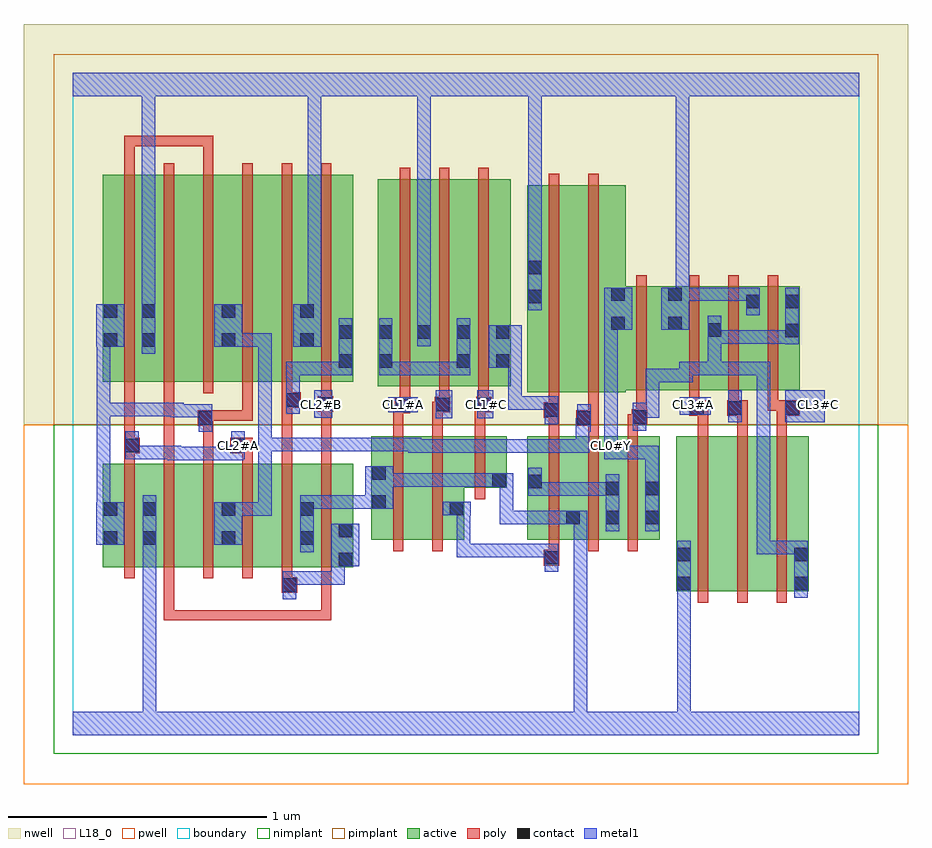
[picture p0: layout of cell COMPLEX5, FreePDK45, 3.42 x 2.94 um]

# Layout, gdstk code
import gdstk
lib = gdstk.Library(unit=1e-6, precision=1e-09)
def R(c, l, rs):  # rectangles x0, y0, x1, y1
    for r in rs: c.add(gdstk.rectangle(r[:2], r[2:], *l))
def A(c, l, x, y, w, h, nx, ny, dx, dy):  # array of equal rectangles
    R(c, l, [(x+i*dx, y+j*dy, x+i*dx+w, y+j*dy+h) for i in range(nx) for j in range(ny)])
active = (1, 0)
pwell = (2, 0)
nwell = (3, 0)
nimplant = (4, 0)
pimplant = (5, 0)
poly = (9, 0)
contact = (10, 0)
metal1 = (11, 0)
L18_0 = (18, 0)
boundary = (235, 0)

complex5 = lib.new_cell('COMPLEX5')
A(complex5, active, 1.904, 0.756, 0.06, 0.4, 3, 1, 0.152, 0)
R(complex5, active, [(2.332,0.556,2.392,1.156), (2.332,0.556,2.512,1.156), (2.512,0.556,2.664,1.156), (2.664,0.556,2.844,1.156), (2.784,0.556,2.844,1.156), (0.116,0.65,0.328,1.05), (0.268,0.65,0.448,1.05), (0.268,0.65,0.328,0.904), (0.448,0.65,0.632,1.05), (0.572,0.65,0.752,1.05), (0.752,0.65,0.936,1.05), (0.876,0.65,1.084,1.05), (1.024,0.65,1.084,1.05), (0.116,0.732,0.176,1.05), (0.572,0.732,0.632,0.904), (0.876,0.732,0.936,0.904), (1.154,0.756,1.214,1.156), (1.154,0.756,1.334,1.156), (1.334,0.756,1.514,1.156), (1.454,0.756,1.514,0.956), (1.756,0.756,1.816,1.156), (1.756,0.756,1.964,1.156), (1.904,0.756,2.116,1.156), (2.056,0.756,2.268,1.156), (1.454,0.956,1.678,1.156), (1.618,0.956,1.678,1.156), (1.756,1.326,1.936,2.126), (1.756,1.326,1.816,2.044), (1.936,1.326,2.138,2.126), (2.078,1.334,2.138,1.734), (2.078,1.334,2.358,1.734), (2.298,1.334,2.358,1.734), (2.298,1.334,2.51,1.734), (2.45,1.334,2.658,1.734), (2.45,1.334,2.51,1.644), (2.598,1.334,2.658,1.734), (2.598,1.334,2.81,1.734), (2.75,1.334,2.81,1.734), (1.18,1.348,1.24,2.044), (1.18,1.348,1.388,2.148), (1.328,1.348,1.54,2.148), (1.48,1.348,1.692,2.148), (1.632,1.348,1.692,2.044), (0.116,1.366,0.324,2.166), (0.116,1.366,0.176,2.044), (0.264,1.366,0.324,2.044), (0.264,1.366,0.448,2.166), (0.448,1.366,0.632,2.166), (0.572,1.366,0.752,2.166), (0.572,1.366,0.632,2.044), (0.752,1.366,0.936,2.166), (0.876,1.366,1.084,2.166), (0.876,1.366,0.936,2.044), (1.024,1.366,1.084,2.044), (1.48,1.416,1.54,2.044), (1.328,1.528,1.388,2.044)])
R(complex5, pwell, [(-0.188,-0.188,3.228,1.2)])
R(complex5, nwell, [(-0.188,1.2,3.228,2.748)])
R(complex5, nimplant, [(-0.072,-0.072,3.112,1.2)])
R(complex5, pimplant, [(-0.072,1.2,3.112,2.632)])
A(complex5, poly, 2.416, 0.512, 0.04, 0.688, 3, 1, 0.152, 0)
A(complex5, poly, 0.2, 0.606, 0.04, 0.488, 6, 1, 0.152, 0)
A(complex5, poly, 1.84, 0.712, 0.04, 0.488, 3, 1, 0.152, 0)
A(complex5, poly, 2.416, 1.16, 0.04, 0.114, 3, 1, 0.152, 0)
A(complex5, poly, 2.382, 1.254, 0.04, 0.076, 3, 1, 0.152, 0)
A(complex5, poly, 2.382, 1.29, 0.04, 0.488, 3, 1, 0.152, 0)
A(complex5, poly, 1.264, 1.304, 0.04, 0.888, 3, 1, 0.152, 0)
A(complex5, poly, 0.2, 1.322, 0.04, 0.888, 6, 1, 0.152, 0)
R(complex5, poly, [(0.352,0.444,0.392,0.484), (0.352,0.444,0.392,0.646), (0.352,0.444,0.498,0.484), (0.458,0.444,0.498,0.484), (0.458,0.444,0.498,0.484), (0.458,0.444,0.498,0.484), (0.458,0.444,0.498,0.484), (0.458,0.444,0.498,0.484), (0.458,0.444,0.68,0.484), (0.64,0.444,0.68,0.484), (0.64,0.444,0.68,0.484), (0.64,0.444,0.68,0.484), (0.64,0.444,0.802,0.484), (0.762,0.444,0.802,0.484), (0.762,0.444,0.802,0.484), (0.762,0.444,0.802,0.484), (0.762,0.444,1,0.484), (0.96,0.444,1,0.484), (0.96,0.444,1,0.484), (0.96,0.444,1,0.484), (0.96,0.444,1,0.484), (0.96,0.444,1,0.484), (0.96,0.444,1,0.646), (0.808,0.55,0.868,0.61), (0.808,0.57,0.848,0.646), (1.82,0.656,1.88,0.716), (1.84,0.676,1.88,0.752), (1.238,0.712,1.278,1.2), (1.39,0.712,1.43,1.2), (1.554,0.912,1.594,1.2), (0.2,1.054,0.24,1.13), (0.352,1.054,0.392,1.13), (0.504,1.054,0.544,1.236), (0.656,1.054,0.696,1.13), (0.808,1.054,0.848,1.306), (0.96,1.054,1,1.29), (0.2,1.09,0.26,1.15), (0.352,1.09,0.392,1.13), (0.352,1.09,0.392,1.13), (0.352,1.09,0.392,1.13), (0.352,1.09,0.392,1.362), (0.61,1.09,0.696,1.15), (0.2,1.11,0.24,1.15), (0.2,1.11,0.24,1.15), (0.2,1.11,0.24,1.362), (1.238,1.16,1.278,1.284), (1.39,1.16,1.43,1.288), (1.554,1.16,1.594,1.288), (1.84,1.16,1.88,1.266), (1.992,1.16,2.032,1.236), (2.144,1.16,2.184,1.24), (0.484,1.196,0.544,1.256), (0.504,1.196,0.544,1.236), (0.504,1.196,0.544,1.236), (1.946,1.196,2.032,1.256), (2.144,1.2,2.2,1.24), (2.16,1.2,2.2,1.24), (2.16,1.2,2.22,1.26), (0.504,1.216,0.696,1.256), (0.656,1.216,0.696,1.256), (0.656,1.216,0.696,1.256), (0.656,1.216,0.696,1.256), (0.656,1.216,0.696,1.362), (1.992,1.216,2.032,1.256), (1.992,1.216,2.032,1.256), (1.992,1.216,2.032,1.322), (2.178,1.22,2.218,1.33), (1.82,1.226,1.88,1.286), (1.84,1.226,1.88,1.266), (1.84,1.226,1.88,1.266), (2.382,1.234,2.456,1.294), (2.53,1.234,2.608,1.294), (2.72,1.234,2.81,1.294), (1.238,1.244,1.284,1.284), (1.244,1.244,1.284,1.284), (1.244,1.244,1.304,1.304), (1.84,1.246,1.88,1.322), (1.39,1.248,1.44,1.288), (1.4,1.248,1.44,1.288), (1.4,1.248,1.46,1.308), (1.554,1.248,1.6,1.288), (1.56,1.248,1.6,1.288), (1.56,1.248,1.62,1.308), (0.948,1.25,1.008,1.31), (0.96,1.25,1,1.29), (0.96,1.25,1,1.29), (2.382,1.254,2.422,1.294), (2.382,1.254,2.422,1.294), (2.534,1.254,2.574,1.294), (2.534,1.254,2.574,1.294), (2.686,1.254,2.76,1.294), (2.72,1.254,2.76,1.294), (1.264,1.264,1.304,1.344), (0.808,1.266,0.848,1.306), (0.808,1.266,0.848,1.306), (0.808,1.266,0.882,1.326), (1.416,1.268,1.456,1.344), (1.568,1.268,1.608,1.344), (0.96,1.27,1,1.362), (1.84,1.282,1.88,2.17), (1.992,1.282,2.032,2.17), (0.808,1.286,0.848,1.362), (2.178,1.29,2.218,1.778), (0.2,2.17,0.24,2.316), (0.504,2.17,0.544,2.316), (0.2,2.276,0.24,2.316), (0.2,2.276,0.24,2.316), (0.2,2.276,0.24,2.316), (0.2,2.276,0.366,2.316), (0.326,2.276,0.366,2.316), (0.326,2.276,0.366,2.316), (0.326,2.276,0.366,2.316), (0.326,2.276,0.544,2.316), (0.504,2.276,0.544,2.316)])
A(complex5, contact, 0.272, 0.736, 0.052, 0.052, 3, 2, 0.304, 0.112)
A(complex5, contact, 1.908, 0.816, 0.052, 0.052, 3, 1, 0.152, 0)
A(complex5, contact, 1.332, 1.532, 0.052, 0.052, 3, 1, 0.152, 0)
R(complex5, contact, [(0.812,0.554,0.864,0.606), (2.336,0.56,2.388,0.612), (2.788,0.56,2.84,0.612), (1.028,0.654,1.08,0.706), (1.824,0.66,1.876,0.712), (2.336,0.672,2.388,0.724), (2.788,0.672,2.84,0.724), (0.12,0.736,0.172,0.788), (1.028,0.766,1.08,0.818), (0.12,0.848,0.172,0.9), (1.458,0.85,1.51,0.902), (1.158,0.876,1.21,0.928), (2.06,0.928,2.112,0.98), (2.212,0.928,2.264,0.98), (1.76,0.954,1.812,1.006), (1.622,0.96,1.674,1.012), (1.158,0.988,1.21,1.04), (0.204,1.094,0.256,1.146), (0.614,1.094,0.666,1.146), (0.488,1.2,0.54,1.252), (1.95,1.2,2.002,1.252), (2.164,1.204,2.216,1.256), (1.824,1.23,1.876,1.282), (2.386,1.238,2.438,1.29), (2.534,1.238,2.586,1.29), (2.754,1.238,2.806,1.29), (1.248,1.248,1.3,1.3), (1.404,1.252,1.456,1.304), (1.564,1.252,1.616,1.304), (0.952,1.254,1.004,1.306), (0.826,1.27,0.878,1.322), (1.028,1.42,1.08,1.472), (1.184,1.42,1.236,1.472), (1.484,1.42,1.536,1.472), (1.636,1.42,1.688,1.472), (0.12,1.502,0.172,1.554), (0.268,1.502,0.32,1.554), (0.576,1.502,0.628,1.554), (0.88,1.502,0.932,1.554), (1.028,1.532,1.08,1.584), (1.184,1.532,1.236,1.584), (2.754,1.538,2.806,1.59), (2.454,1.54,2.506,1.592), (2.082,1.566,2.134,1.618), (2.302,1.566,2.354,1.618), (0.12,1.614,0.172,1.666), (0.268,1.614,0.32,1.666), (0.576,1.614,0.628,1.666), (0.88,1.614,0.932,1.666), (2.602,1.65,2.654,1.702), (2.754,1.65,2.806,1.702), (1.76,1.67,1.812,1.722), (2.082,1.678,2.134,1.73), (2.302,1.678,2.354,1.73), (1.76,1.782,1.812,1.834)])
R(complex5, metal1, [(0,0,3.04,0.092), (0.272,0.04,0.324,0.092), (0.272,0.04,0.324,0.092), (0.272,0.04,0.324,0.092), (0.272,0.04,0.324,0.092), (0.272,0.04,0.324,0.092), (0.272,0.04,0.324,0.092), (0.272,0.04,0.324,0.76), (1.936,0.04,1.988,0.092), (1.936,0.04,1.988,0.092), (1.936,0.04,1.988,0.092), (1.936,0.04,1.988,0.092), (1.936,0.04,1.988,0.092), (1.936,0.04,1.988,0.092), (1.936,0.04,1.988,0.092), (1.936,0.04,1.988,0.092), (1.936,0.04,1.988,0.092), (1.936,0.04,1.988,0.092), (1.936,0.04,1.988,0.092), (1.936,0.04,1.988,0.092), (1.936,0.04,1.988,0.868), (2.336,0.04,2.388,0.092), (2.336,0.04,2.388,0.092), (2.336,0.04,2.388,0.092), (2.336,0.04,2.388,0.092), (2.336,0.04,2.388,0.092), (2.336,0.04,2.388,0.092), (2.336,0.04,2.388,0.092), (2.336,0.04,2.388,0.092), (2.336,0.04,2.388,0.584), (0.812,0.526,0.864,0.634), (2.336,0.532,2.388,0.752), (2.788,0.532,2.84,0.752), (0.812,0.582,0.88,0.634), (0.828,0.582,0.88,0.634), (0.828,0.582,1.052,0.634), (1,0.582,1.052,0.634), (1,0.582,1.052,0.634), (1,0.582,1.052,0.634), (1,0.582,1.052,0.706), (1.824,0.632,1.876,0.74), (1,0.654,1.108,0.818), (1.484,0.688,1.536,0.74), (1.484,0.688,1.536,0.74), (1.484,0.688,1.536,0.74), (1.484,0.688,1.536,0.902), (1.484,0.688,1.766,0.74), (1.714,0.688,1.766,0.74), (1.714,0.688,1.766,0.74), (1.714,0.688,1.766,0.74), (1.714,0.688,1.876,0.74), (2.644,0.7,2.696,0.752), (2.644,0.7,2.696,0.752), (2.644,0.7,2.696,0.752), (2.644,0.7,2.84,0.752), (2.644,0.7,2.696,1.444), (2.788,0.7,2.84,0.752), (2.788,0.7,2.84,0.752), (0.272,0.708,0.324,0.76), (0.272,0.708,0.324,0.76), (0.272,0.708,0.324,0.76), (0.272,0.708,0.324,0.76), (0.272,0.708,0.324,0.76), (0.272,0.708,0.324,0.76), (0.272,0.708,0.324,0.928), (0.88,0.708,0.932,0.928), (0.092,0.736,0.2,0.9), (0.548,0.736,0.656,0.9), (2.06,0.788,2.112,1.008), (2.212,0.788,2.264,1.008), (1.65,0.816,1.702,0.868), (1.65,0.816,1.702,0.868), (1.65,0.816,1.702,0.868), (1.65,0.816,1.756,0.868), (1.65,0.816,1.702,1.012), (1.704,0.816,1.756,0.868), (1.704,0.816,1.876,0.868), (1.824,0.816,1.876,0.868), (1.824,0.816,1.932,0.868), (1.88,0.816,1.988,0.868), (0.094,0.848,0.146,0.9), (0.094,0.848,0.146,0.9), (0.094,0.848,0.146,1.284), (0.604,0.848,0.656,0.9), (0.604,0.848,0.656,0.9), (0.604,0.848,0.77,0.9), (0.718,0.848,0.77,0.9), (0.718,0.848,0.77,1.15), (1.43,0.85,1.538,0.902), (0.88,0.876,1.072,0.928), (1.02,0.876,1.072,0.928), (1.02,0.876,1.072,0.928), (1.02,0.876,1.072,0.928), (1.02,0.876,1.182,0.928), (1.13,0.876,1.238,1.04), (1.76,0.926,1.812,1.034), (1.76,0.926,1.892,0.978), (1.84,0.926,1.892,0.978), (1.84,0.926,1.996,0.978), (1.944,0.926,1.996,0.978), (1.944,0.926,2.106,0.978), (2.054,0.926,2.106,0.978), (2.054,0.926,2.112,0.978), (2.212,0.956,2.264,1.118), (1.186,0.96,1.238,1.012), (1.186,0.96,1.238,1.012), (1.186,0.96,1.348,1.012), (1.296,0.96,1.348,1.012), (1.296,0.96,1.348,1.012), (1.296,0.96,1.348,1.012), (1.296,0.96,1.494,1.012), (1.442,0.96,1.494,1.012), (1.442,0.96,1.646,1.012), (1.594,0.96,1.646,1.012), (1.594,0.96,1.646,1.012), (1.594,0.96,1.646,1.012), (1.594,0.96,1.646,1.012), (1.594,0.96,1.702,1.012), (0.368,1.062,0.42,1.114), (0.368,1.062,0.42,1.114), (0.368,1.062,0.42,1.118), (0.368,1.062,0.546,1.114), (0.494,1.062,0.546,1.114), (0.494,1.062,0.66,1.114), (0.608,1.062,0.66,1.118), (0.204,1.066,0.256,1.118), (0.204,1.066,0.256,1.118), (0.204,1.066,0.256,1.174), (0.204,1.066,0.42,1.118), (0.608,1.066,0.666,1.118), (0.614,1.066,0.666,1.174), (2.054,1.066,2.216,1.118), (2.054,1.066,2.106,1.174), (2.164,1.066,2.216,1.118), (2.164,1.066,2.264,1.118), (2.212,1.066,2.264,1.118), (1.296,1.092,1.348,1.144), (1.296,1.092,1.348,1.144), (1.296,1.092,1.536,1.144), (1.296,1.092,1.348,1.15), (1.484,1.092,1.536,1.144), (1.484,1.092,1.536,1.144), (1.484,1.092,1.536,1.144), (1.484,1.092,1.756,1.144), (1.704,1.092,1.756,1.144), (1.704,1.092,1.756,1.144), (1.704,1.092,1.756,1.144), (1.704,1.092,1.892,1.144), (1.84,1.092,1.892,1.144), (1.84,1.092,1.996,1.144), (1.944,1.092,1.996,1.224), (0.718,1.098,0.77,1.15), (0.718,1.098,0.876,1.15), (0.718,1.098,0.77,1.554), (0.824,1.098,0.876,1.15), (0.824,1.098,0.88,1.15), (0.828,1.098,0.88,1.15), (0.828,1.098,1.072,1.15), (1.02,1.098,1.072,1.15), (1.02,1.098,1.072,1.15), (1.02,1.098,1.072,1.15), (1.02,1.098,1.19,1.15), (1.138,1.098,1.19,1.15), (1.138,1.098,1.19,1.15), (1.138,1.098,1.19,1.15), (1.138,1.098,1.348,1.15), (2.054,1.122,2.106,1.618), (0.488,1.172,0.54,1.28), (1.944,1.172,2.002,1.224), (1.95,1.172,2.002,1.28), (2.164,1.176,2.216,1.284), (1.824,1.202,1.876,1.31), (2.534,1.21,2.586,1.334), (2.754,1.21,2.906,1.334), (1.404,1.224,1.466,1.334), (1.564,1.224,1.626,1.334), (0.934,1.226,1.004,1.334), (2.214,1.226,2.266,1.416), (0.378,1.228,0.43,1.28), (0.378,1.228,0.43,1.28), (0.378,1.228,0.54,1.28), (0.378,1.228,0.43,1.284), (0.094,1.232,0.146,1.284), (0.094,1.232,0.146,1.284), (0.094,1.232,0.146,1.284), (0.094,1.232,0.31,1.284), (0.094,1.232,0.146,1.554), (0.258,1.232,0.31,1.284), (0.258,1.232,0.43,1.284), (2.164,1.232,2.266,1.284), (2.346,1.238,2.466,1.306), (0.826,1.242,0.878,1.35), (1.22,1.248,1.334,1.306), (1.684,1.258,1.736,1.31), (1.684,1.258,1.756,1.31), (1.684,1.258,1.736,1.472), (1.704,1.258,1.756,1.31), (1.704,1.258,1.876,1.31), (0.826,1.298,0.878,1.35), (0.826,1.298,0.878,1.35), (0.826,1.298,0.878,1.444), (2.214,1.364,2.396,1.416), (2.344,1.364,2.396,1.416), (2.344,1.364,2.396,1.416), (2.344,1.364,2.396,1.444), (0.826,1.392,0.878,1.444), (0.826,1.392,1.072,1.444), (1.02,1.392,1.072,1.444), (1.02,1.392,1.08,1.444), (1.028,1.392,1.08,1.612), (1.184,1.392,1.236,1.444), (1.184,1.392,1.236,1.444), (1.184,1.392,1.236,1.612), (1.184,1.392,1.348,1.444), (1.296,1.392,1.348,1.444), (1.296,1.392,1.348,1.444), (1.296,1.392,1.348,1.444), (1.296,1.392,1.536,1.444), (1.484,1.392,1.536,1.612), (2.344,1.392,2.506,1.444), (2.454,1.392,2.506,1.444), (2.454,1.392,2.696,1.444), (2.454,1.392,2.506,1.564), (2.644,1.392,2.696,1.444), (2.644,1.392,2.696,1.444), (2.644,1.392,2.696,1.444), (1.608,1.42,1.736,1.584), (0.268,1.474,0.32,1.694), (0.092,1.502,0.2,1.666), (0.548,1.502,0.656,1.666), (0.604,1.502,0.656,1.554), (0.604,1.502,0.656,1.554), (0.604,1.502,0.656,1.554), (0.604,1.502,0.656,1.554), (0.604,1.502,0.77,1.554), (0.718,1.502,0.77,1.554), (0.852,1.502,0.96,1.666), (1.332,1.504,1.384,1.612), (2.754,1.51,2.806,1.73), (2.454,1.512,2.506,1.564), (2.454,1.512,2.506,1.564), (2.454,1.512,2.506,1.62), (2.454,1.512,2.696,1.564), (2.644,1.512,2.696,1.564), (2.644,1.512,2.806,1.564), (2.754,1.512,2.806,1.564), (2.754,1.512,2.806,1.564), (1.332,1.56,1.384,1.612), (1.332,1.56,1.384,1.612), (1.332,1.56,1.384,1.612), (1.332,1.56,1.384,1.612), (1.332,1.56,1.384,1.612), (1.332,1.56,1.384,1.612), (1.332,1.56,1.384,2.52), (2.054,1.566,2.106,1.618), (2.054,1.566,2.106,1.618), (2.054,1.566,2.162,1.73), (2.274,1.566,2.382,1.73), (0.908,1.614,0.96,2.52), (2.602,1.622,2.654,1.73), (0.268,1.642,0.32,2.52), (1.76,1.642,1.812,1.862), (2.33,1.678,2.382,1.73), (2.33,1.678,2.382,1.73), (2.33,1.678,2.382,1.73), (2.33,1.678,2.382,1.73), (2.33,1.678,2.382,1.73), (2.33,1.678,2.382,1.73), (2.33,1.678,2.382,1.73), (2.33,1.678,2.382,1.73), (2.33,1.678,2.382,1.73), (2.33,1.678,2.382,1.73), (2.33,1.678,2.382,1.73), (2.33,1.678,2.382,1.73), (2.33,1.678,2.382,1.73), (2.33,1.678,2.382,1.73), (2.33,1.678,2.382,1.73), (2.33,1.678,2.382,1.73), (2.33,1.678,2.382,1.73), (2.33,1.678,2.382,1.73), (2.33,1.678,2.544,1.73), (2.33,1.678,2.382,2.52), (2.492,1.678,2.544,1.73), (2.492,1.678,2.544,1.73), (2.492,1.678,2.544,1.73), (2.492,1.678,2.654,1.73), (1.76,1.81,1.812,1.862), (1.76,1.81,1.812,1.862), (1.76,1.81,1.812,1.862), (1.76,1.81,1.812,1.862), (1.76,1.81,1.812,2.52), (0,2.468,3.04,2.56), (0.268,2.468,0.32,2.52), (0.268,2.468,0.32,2.52), (0.268,2.468,0.32,2.52), (0.268,2.468,0.32,2.52), (0.268,2.468,0.32,2.52), (0.268,2.468,0.32,2.52), (0.268,2.468,0.32,2.52), (0.268,2.468,0.32,2.52), (0.908,2.468,0.96,2.52), (0.908,2.468,0.96,2.52), (0.908,2.468,0.96,2.52), (0.908,2.468,0.96,2.52), (0.908,2.468,0.96,2.52), (0.908,2.468,0.96,2.52), (0.908,2.468,0.96,2.52), (0.908,2.468,0.96,2.52), (1.332,2.468,1.384,2.52), (1.332,2.468,1.384,2.52), (1.76,2.468,1.812,2.52), (1.76,2.468,1.812,2.52), (1.76,2.468,1.812,2.52), (1.76,2.468,1.812,2.52)])
A(complex5, L18_0, 1.254, 1.254, 0.052, 0.052, 3, 1, 0.16, 0)
A(complex5, L18_0, 2.214, 1.254, 0.052, 0.052, 3, 1, 0.16, 0)
R(complex5, L18_0, [(0,0,3.04,0.092), (0.272,0.04,0.324,0.092), (0.272,0.04,0.324,0.092), (0.272,0.04,0.324,0.092), (0.272,0.04,0.324,0.092), (0.272,0.04,0.324,0.092), (0.272,0.04,0.324,0.092), (0.272,0.04,0.324,0.76), (1.936,0.04,1.988,0.092), (1.936,0.04,1.988,0.092), (1.936,0.04,1.988,0.092), (1.936,0.04,1.988,0.092), (1.936,0.04,1.988,0.092), (1.936,0.04,1.988,0.092), (1.936,0.04,1.988,0.092), (1.936,0.04,1.988,0.092), (1.936,0.04,1.988,0.092), (1.936,0.04,1.988,0.092), (1.936,0.04,1.988,0.092), (1.936,0.04,1.988,0.092), (1.936,0.04,1.988,0.868), (2.336,0.04,2.388,0.092), (2.336,0.04,2.388,0.092), (2.336,0.04,2.388,0.092), (2.336,0.04,2.388,0.092), (2.336,0.04,2.388,0.092), (2.336,0.04,2.388,0.092), (2.336,0.04,2.388,0.092), (2.336,0.04,2.388,0.092), (2.336,0.04,2.388,0.584), (2.336,0.532,2.388,0.752), (2.788,0.532,2.84,0.752), (2.644,0.7,2.696,0.752), (2.644,0.7,2.696,0.752), (2.644,0.7,2.696,0.752), (2.644,0.7,2.696,1.444), (2.644,0.7,2.84,0.752), (2.788,0.7,2.84,0.752), (2.788,0.7,2.84,0.752), (0.272,0.708,0.324,0.76), (0.272,0.708,0.324,0.76), (0.272,0.708,0.324,0.76), (0.272,0.708,0.324,0.76), (0.272,0.708,0.324,0.76), (0.272,0.708,0.324,0.76), (0.272,0.708,0.324,0.928), (0.88,0.708,0.932,0.928), (2.212,0.788,2.264,1.008), (1.65,0.816,1.702,0.868), (1.65,0.816,1.702,0.868), (1.65,0.816,1.702,0.868), (1.65,0.816,1.702,1.012), (1.65,0.816,1.756,0.868), (1.704,0.816,1.756,0.868), (1.704,0.816,1.876,0.868), (1.824,0.816,1.876,0.868), (1.824,0.816,1.932,0.868), (1.88,0.816,1.988,0.868), (0.88,0.876,1.072,0.928), (1.02,0.876,1.072,0.928), (1.02,0.876,1.072,0.928), (1.02,0.876,1.072,0.928), (1.02,0.876,1.182,0.928), (1.13,0.876,1.238,1.04), (2.212,0.956,2.264,1.118), (1.186,0.96,1.238,1.012), (1.186,0.96,1.238,1.012), (1.186,0.96,1.348,1.012), (1.296,0.96,1.348,1.012), (1.296,0.96,1.348,1.012), (1.296,0.96,1.348,1.012), (1.296,0.96,1.494,1.012), (1.442,0.96,1.494,1.012), (1.442,0.96,1.646,1.012), (1.594,0.96,1.646,1.012), (1.594,0.96,1.646,1.012), (1.594,0.96,1.646,1.012), (1.594,0.96,1.646,1.012), (1.594,0.96,1.702,1.012), (0.368,1.062,0.42,1.114), (0.368,1.062,0.42,1.114), (0.368,1.062,0.42,1.118), (0.368,1.062,0.546,1.114), (0.494,1.062,0.546,1.114), (0.494,1.062,0.66,1.114), (0.608,1.062,0.66,1.118), (0.204,1.066,0.256,1.174), (0.204,1.066,0.256,1.118), (0.204,1.066,0.256,1.118), (0.204,1.066,0.42,1.118), (0.608,1.066,0.666,1.118), (0.614,1.066,0.666,1.174), (2.054,1.066,2.106,1.174), (2.054,1.066,2.216,1.118), (2.164,1.066,2.216,1.118), (2.164,1.066,2.264,1.118), (2.212,1.066,2.264,1.118), (0.614,1.094,0.666,1.146), (2.054,1.094,2.106,1.146), (2.054,1.122,2.106,1.618), (2.164,1.176,2.216,1.284), (2.534,1.21,2.586,1.334), (2.754,1.21,2.906,1.334), (1.404,1.224,1.466,1.334), (1.564,1.224,1.626,1.334), (0.934,1.226,1.004,1.334), (2.214,1.226,2.266,1.416), (2.164,1.232,2.266,1.284), (2.346,1.238,2.466,1.306), (1.22,1.248,1.334,1.306), (0.934,1.254,0.986,1.306), (2.854,1.254,2.906,1.306), (2.214,1.364,2.396,1.416), (2.344,1.364,2.396,1.416), (2.344,1.364,2.396,1.416), (2.344,1.364,2.396,1.444), (2.344,1.392,2.506,1.444), (2.454,1.392,2.506,1.444), (2.454,1.392,2.506,1.564), (2.454,1.392,2.696,1.444), (2.644,1.392,2.696,1.444), (2.644,1.392,2.696,1.444), (2.644,1.392,2.696,1.444), (0.268,1.474,0.32,1.694), (0.852,1.502,0.96,1.666), (1.332,1.504,1.384,1.612), (2.754,1.51,2.806,1.73), (2.454,1.512,2.506,1.62), (2.454,1.512,2.506,1.564), (2.454,1.512,2.506,1.564), (2.454,1.512,2.696,1.564), (2.644,1.512,2.696,1.564), (2.644,1.512,2.806,1.564), (2.754,1.512,2.806,1.564), (2.754,1.512,2.806,1.564), (1.332,1.56,1.384,1.612), (1.332,1.56,1.384,1.612), (1.332,1.56,1.384,1.612), (1.332,1.56,1.384,1.612), (1.332,1.56,1.384,1.612), (1.332,1.56,1.384,1.612), (1.332,1.56,1.384,2.52), (2.054,1.566,2.106,1.618), (2.054,1.566,2.106,1.618), (2.054,1.566,2.162,1.73), (2.274,1.566,2.382,1.73), (0.908,1.614,0.96,2.52), (2.602,1.622,2.654,1.73), (0.268,1.642,0.32,2.52), (1.76,1.642,1.812,1.862), (2.33,1.678,2.382,1.73), (2.33,1.678,2.382,1.73), (2.33,1.678,2.382,1.73), (2.33,1.678,2.382,1.73), (2.33,1.678,2.382,1.73), (2.33,1.678,2.382,1.73), (2.33,1.678,2.382,1.73), (2.33,1.678,2.382,1.73), (2.33,1.678,2.382,1.73), (2.33,1.678,2.382,1.73), (2.33,1.678,2.382,1.73), (2.33,1.678,2.382,1.73), (2.33,1.678,2.382,1.73), (2.33,1.678,2.382,1.73), (2.33,1.678,2.382,1.73), (2.33,1.678,2.382,1.73), (2.33,1.678,2.382,1.73), (2.33,1.678,2.382,1.73), (2.33,1.678,2.382,2.52), (2.33,1.678,2.544,1.73), (2.492,1.678,2.544,1.73), (2.492,1.678,2.544,1.73), (2.492,1.678,2.544,1.73), (2.492,1.678,2.654,1.73), (1.76,1.81,1.812,1.862), (1.76,1.81,1.812,1.862), (1.76,1.81,1.812,1.862), (1.76,1.81,1.812,1.862), (1.76,1.81,1.812,2.52), (0,2.468,3.04,2.56), (0.268,2.468,0.32,2.52), (0.268,2.468,0.32,2.52), (0.268,2.468,0.32,2.52), (0.268,2.468,0.32,2.52), (0.268,2.468,0.32,2.52), (0.268,2.468,0.32,2.52), (0.268,2.468,0.32,2.52), (0.268,2.468,0.32,2.52), (0.908,2.468,0.96,2.52), (0.908,2.468,0.96,2.52), (0.908,2.468,0.96,2.52), (0.908,2.468,0.96,2.52), (0.908,2.468,0.96,2.52), (0.908,2.468,0.96,2.52), (0.908,2.468,0.96,2.52), (0.908,2.468,0.96,2.52), (1.332,2.468,1.384,2.52), (1.332,2.468,1.384,2.52), (1.76,2.468,1.812,2.52), (1.76,2.468,1.812,2.52), (1.76,2.468,1.812,2.52), (1.76,2.468,1.812,2.52)])
R(complex5, boundary, [(0,0,3.04,2.56)])
complex5.add(gdstk.Label('CL0#Y', (2.08,1.12), layer=11, texttype=0))
complex5.add(gdstk.Label('CL1#A', (1.28,1.28), layer=11, texttype=0))
complex5.add(gdstk.Label('CL1#B', (1.44,1.28), layer=11, texttype=0))
complex5.add(gdstk.Label('CL1#C', (1.6,1.28), layer=11, texttype=0))
complex5.add(gdstk.Label('CL2#A', (0.64,1.12), layer=11, texttype=0))
complex5.add(gdstk.Label('CL2#B', (0.96,1.28), layer=11, texttype=0))
complex5.add(gdstk.Label('CL3#A', (2.4,1.28), layer=11, texttype=0))
complex5.add(gdstk.Label('CL3#B', (2.56,1.28), layer=11, texttype=0))
complex5.add(gdstk.Label('CL3#C', (2.88,1.28), layer=11, texttype=0))
complex5.add(gdstk.Label('CL3#Y', (2.24,1.28), layer=11, texttype=0))

lib.write_gds('COMPLEX5.gds')
